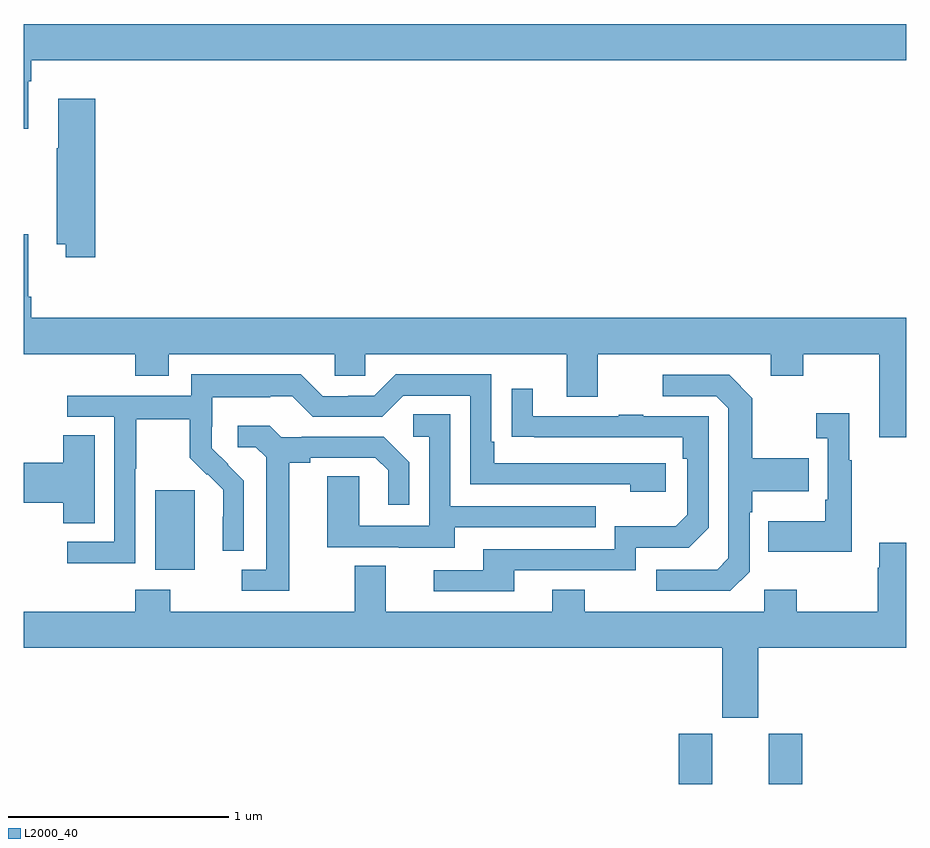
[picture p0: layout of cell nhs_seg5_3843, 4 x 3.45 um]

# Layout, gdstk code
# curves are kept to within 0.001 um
import gdstk
lib = gdstk.Library(unit=1e-6, precision=1e-09)
def R(c, l, rs):  # rectangles x0, y0, x1, y1
    for r in rs: c.add(gdstk.rectangle(r[:2], r[2:], *l))
def P(c, l, *ps):  # polygons
    for p in ps: c.add(gdstk.Polygon(p, *l))
L2000_40 = (2000, 40)

nhs_seg5_3843 = lib.new_cell('nhs_seg5_3843')
R(nhs_seg5_3843, L2000_40, [(339.968,866.799,340.12,867.027), (340.376,866.799,340.529,867.027), (337.595,867.77,337.774,868.131)])
P(nhs_seg5_3843, L2000_40, [(337.021,869.984),(337.034,869.984),(337.034,870.08),(341,870.08),(341,870.244),(337,870.244),(337,869.769),(337.021,869.769)],
  [(337.325,869.905),(337.157,869.905),(337.157,869.681),(337.15,869.681),(337.15,869.246),(337.19,869.246),(337.19,869.187),(337.325,869.187)],
  [(341,868.912),(337.034,868.912),(337.034,869.008),(337.021,869.008),(337.021,869.29),(337,869.29),(337,868.748),(337.505,868.748),(337.505,868.649),(337.657,868.649),(337.657,868.748),(338.409,868.748),(338.409,868.65),(338.547,868.65),(338.547,868.748),(339.461,868.748),(339.461,868.554),(339.601,868.554),(339.601,868.748),(340.385,868.748),(340.385,868.649),(340.533,868.649),(340.533,868.748),(340.877,868.748),(340.877,868.371),(341,868.371)],
  [(337.506,868.228),(337.509,868.228),(337.509,868.452),(337.753,868.452),(337.753,868.277),(337.83,868.2),(337.833,868.203),(337.904,868.133),(337.904,868.01),(337.902,868.01),(337.902,867.856),(337.998,867.856),(337.998,868.174),(337.852,868.322),(337.852,868.419),(337.854,868.419),(337.854,868.553),(338.117,868.553),(338.117,868.557),(338.217,868.557),(338.31,868.464),(338.625,868.464),(338.721,868.56),(339.024,868.56),(339.024,868.158),(339.749,868.158),(339.749,868.124),(339.91,868.124),(339.91,868.254),(339.133,868.254),(339.133,868.351),(339.12,868.351),(339.12,868.656),(338.685,868.656),(338.589,868.56),(338.471,868.56),(338.471,868.557),(338.355,868.557),(338.255,868.657),(337.758,868.657),(337.758,868.56),(337.197,868.56),(337.197,868.464),(337.41,868.464),(337.41,867.897),(337.197,867.897),(337.197,867.799),(337.506,867.799)],
  [(340.29,867.762),(340.29,868.031),(340.303,868.031),(340.303,868.127),(340.559,868.127),(340.559,868.275),(340.303,868.275),(340.303,868.547),(340.197,868.653),(339.897,868.653),(339.897,868.557),(340.14,868.557),(340.194,868.503),(340.194,867.822),(340.143,867.771),(339.867,867.771),(339.867,867.675),(340.203,867.675)],
  [(339.223,867.768),(339.774,867.768),(339.774,867.87),(340.014,867.87),(340.104,867.96),(340.104,868.467),(339.809,868.467),(339.809,868.472),(339.697,868.472),(339.697,868.467),(339.307,868.467),(339.307,868.591),(339.211,868.591),(339.211,868.372),(339.988,868.371),(339.988,868.274),(340.008,868.274),(340.008,868.02),(339.955,867.967),(339.678,867.967),(339.678,867.864),(339.083,867.864),(339.083,867.768),(338.859,867.768),(338.859,867.672),(339.223,867.672)],
  [(340.753,868.267),(340.741,868.267),(340.741,868.48),(340.593,868.48),(340.593,868.367),(340.644,868.367),(340.644,868.087),(340.632,868.087),(340.632,867.991),(340.375,867.991),(340.375,867.851),(340.753,867.851)],
  [(338.953,867.963),(339.593,867.963),(339.593,868.059),(338.934,868.059),(338.934,868.475),(338.766,868.475),(338.766,868.374),(338.838,868.374),(338.838,867.969),(338.52,867.969),(338.52,868.193),(338.375,868.193),(338.375,867.873),(338.699,867.873),(338.699,867.869),(338.953,867.869)],
  [(338.203,868.256),(338.299,868.256),(338.299,868.278),(338.594,868.278),(338.651,868.221),(338.651,868.065),(338.748,868.065),(338.748,868.258),(338.632,868.374),(338.26,868.374),(338.26,868.371),(338.166,868.371),(338.114,868.423),(337.971,868.423),(337.971,868.326),(338.052,868.326),(338.099,868.279),(338.099,867.771),(337.989,867.771),(337.989,867.675),(338.203,867.675)],
  [(337.321,868.379),(337.178,868.379),(337.178,868.256),(337,868.256),(337,868.073),(337.178,868.073),(337.178,867.982),(337.321,867.982)],
  [(340.33,867.416),(341,867.416),(341,867.892),(340.877,867.892),(340.877,867.779),(340.87,867.779),(340.87,867.58),(340.503,867.58),(340.503,867.679),(340.356,867.679),(340.356,867.58),(339.543,867.58),(339.543,867.679),(339.395,867.679),(339.395,867.58),(338.641,867.58),(338.641,867.788),(338.501,867.788),(338.501,867.58),(337.665,867.58),(337.665,867.679),(337.505,867.679),(337.505,867.58),(337,867.58),(337,867.416),(340.166,867.416),(340.166,867.099),(340.33,867.099)])

lib.write_gds('nhs_seg5_3843.gds')
